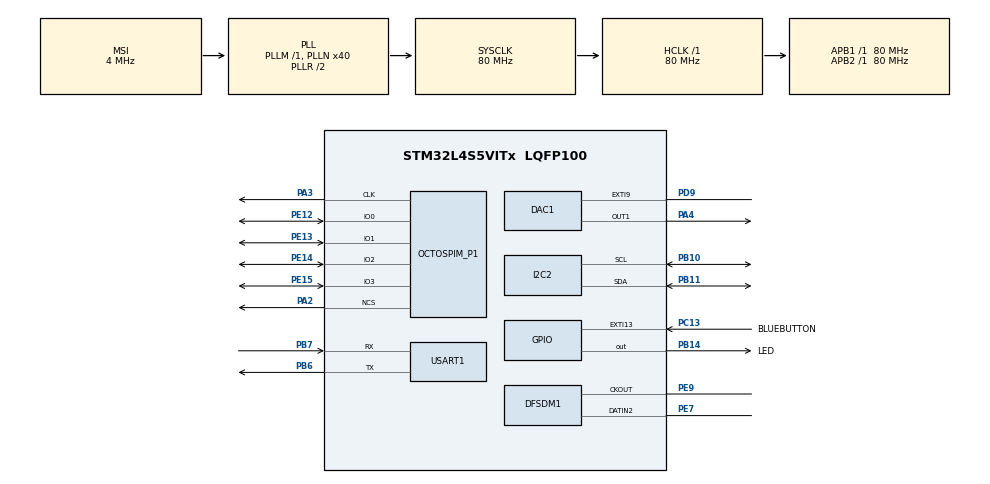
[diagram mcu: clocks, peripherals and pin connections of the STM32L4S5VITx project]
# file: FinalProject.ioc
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DAC1.DAC_HighFrequency-DAC_OUT1=DAC_HIGH_FREQUENCY_INTERFACE_MODE_DISABLE
DAC1.DAC_Trigger-DAC_OUT1=DAC_TRIGGER_T2_TRGO
DFSDM1.Divider=34
DFSDM1.DmaMode_reg_FIL0=ENABLE
DFSDM1.FastMode_reg_FIL0=ENABLE
DFSDM1.Filter_regChannel_FIL0=DFSDM_CHANNEL_2
DFSDM1.Fosr_FIL0=55
DFSDM1.SincOrder_FIL0=DFSDM_FILTER_SINC3_ORDER
Dma.DAC1_CH1.3.Direction=DMA_MEMORY_TO_PERIPH
Dma.DAC1_CH1.3.EventEnable=DISABLE
Dma.DAC1_CH1.3.Instance=DMA1_Channel4
Dma.DAC1_CH1.3.MemDataAlignment=DMA_MDATAALIGN_HALFWORD
Dma.DAC1_CH1.3.MemInc=DMA_MINC_ENABLE
Dma.DAC1_CH1.3.Mode=DMA_NORMAL
Dma.DAC1_CH1.3.PeriphDataAlignment=DMA_PDATAALIGN_HALFWORD
Dma.DAC1_CH1.3.PeriphInc=DMA_PINC_DISABLE
Dma.DAC1_CH1.3.Polarity=HAL_DMAMUX_REQUEST_GEN_RISING
Dma.DAC1_CH1.3.Priority=DMA_PRIORITY_LOW
Dma.DAC1_CH1.3.RequestNumber=1
Dma.DAC1_CH1.3.SignalID=NONE
Dma.DAC1_CH1.3.SyncEnable=DISABLE
Dma.DAC1_CH1.3.SyncPolarity=HAL_DMAMUX_SYNC_NO_EVENT
Dma.DAC1_CH1.3.SyncRequestNumber=1
Dma.DAC1_CH1.3.SyncSignalID=NONE
Dma.DFSDM1_FLT0.2.Direction=DMA_PERIPH_TO_MEMORY
Dma.DFSDM1_FLT0.2.EventEnable=DISABLE
Dma.DFSDM1_FLT0.2.Instance=DMA1_Channel3
Dma.DFSDM1_FLT0.2.MemDataAlignment=DMA_MDATAALIGN_WORD
Dma.DFSDM1_FLT0.2.MemInc=DMA_MINC_ENABLE
Dma.DFSDM1_FLT0.2.Mode=DMA_NORMAL
Dma.DFSDM1_FLT0.2.PeriphDataAlignment=DMA_PDATAALIGN_WORD
Dma.DFSDM1_FLT0.2.PeriphInc=DMA_PINC_DISABLE
Dma.DFSDM1_FLT0.2.Polarity=HAL_DMAMUX_REQUEST_GEN_RISING
Dma.DFSDM1_FLT0.2.Priority=DMA_PRIORITY_LOW
Dma.DFSDM1_FLT0.2.RequestNumber=1
Dma.DFSDM1_FLT0.2.SignalID=NONE
Dma.DFSDM1_FLT0.2.SyncEnable=DISABLE
Dma.DFSDM1_FLT0.2.SyncPolarity=HAL_DMAMUX_SYNC_NO_EVENT
Dma.DFSDM1_FLT0.2.SyncRequestNumber=1
Dma.DFSDM1_FLT0.2.SyncSignalID=NONE
Dma.Request0=USART1_RX
Dma.Request1=USART1_TX
Dma.Request2=DFSDM1_FLT0
Dma.Request3=DAC1_CH1
Dma.Request4=TIM2_UP
Dma.TIM2_UP.4.Direction=DMA_PERIPH_TO_MEMORY
Dma.TIM2_UP.4.EventEnable=DISABLE
Dma.TIM2_UP.4.Instance=DMA1_Channel5
Dma.TIM2_UP.4.MemDataAlignment=DMA_MDATAALIGN_WORD
Dma.TIM2_UP.4.MemInc=DMA_MINC_ENABLE
Dma.TIM2_UP.4.Mode=DMA_NORMAL
Dma.TIM2_UP.4.PeriphDataAlignment=DMA_PDATAALIGN_WORD
Dma.TIM2_UP.4.PeriphInc=DMA_PINC_DISABLE
Dma.TIM2_UP.4.Polarity=HAL_DMAMUX_REQUEST_GEN_RISING
Dma.TIM2_UP.4.Priority=DMA_PRIORITY_LOW
Dma.TIM2_UP.4.RequestNumber=1
Dma.TIM2_UP.4.SignalID=NONE
Dma.TIM2_UP.4.SyncEnable=DISABLE
Dma.TIM2_UP.4.SyncPolarity=HAL_DMAMUX_SYNC_NO_EVENT
Dma.TIM2_UP.4.SyncRequestNumber=1
Dma.TIM2_UP.4.SyncSignalID=NONE
Dma.USART1_RX.0.Direction=DMA_PERIPH_TO_MEMORY
Dma.USART1_RX.0.EventEnable=DISABLE
Dma.USART1_RX.0.Instance=DMA1_Channel1
Dma.USART1_RX.0.MemDataAlignment=DMA_MDATAALIGN_BYTE
Dma.USART1_RX.0.MemInc=DMA_MINC_ENABLE
Dma.USART1_RX.0.Mode=DMA_NORMAL
Dma.USART1_RX.0.PeriphDataAlignment=DMA_PDATAALIGN_BYTE
Dma.USART1_RX.0.PeriphInc=DMA_PINC_DISABLE
Dma.USART1_RX.0.Polarity=HAL_DMAMUX_REQUEST_GEN_RISING
Dma.USART1_RX.0.Priority=DMA_PRIORITY_LOW
Dma.USART1_RX.0.RequestNumber=1
Dma.USART1_RX.0.SignalID=NONE
Dma.USART1_RX.0.SyncEnable=DISABLE
Dma.USART1_RX.0.SyncPolarity=HAL_DMAMUX_SYNC_NO_EVENT
Dma.USART1_RX.0.SyncRequestNumber=1
Dma.USART1_RX.0.SyncSignalID=NONE
Dma.USART1_TX.1.Direction=DMA_MEMORY_TO_PERIPH
Dma.USART1_TX.1.EventEnable=DISABLE
Dma.USART1_TX.1.Instance=DMA1_Channel2
Dma.USART1_TX.1.MemDataAlignment=DMA_MDATAALIGN_BYTE
Dma.USART1_TX.1.MemInc=DMA_MINC_ENABLE
Dma.USART1_TX.1.Mode=DMA_NORMAL
Dma.USART1_TX.1.PeriphDataAlignment=DMA_PDATAALIGN_BYTE
Dma.USART1_TX.1.PeriphInc=DMA_PINC_DISABLE
Dma.USART1_TX.1.Polarity=HAL_DMAMUX_REQUEST_GEN_RISING
Dma.USART1_TX.1.Priority=DMA_PRIORITY_LOW
Dma.USART1_TX.1.RequestNumber=1
Dma.USART1_TX.1.SignalID=NONE
Dma.USART1_TX.1.SyncEnable=DISABLE
Dma.USART1_TX.1.SyncPolarity=HAL_DMAMUX_SYNC_NO_EVENT
Dma.USART1_TX.1.SyncRequestNumber=1
Dma.USART1_TX.1.SyncSignalID=NONE
FREERTOS.Tasks01=receiveTerminal,0,256,StartReceivingTerminal,Default,NULL,Dynamic,NULL,NULL;sideTask,0,256,StartSideTask,Default,NULL,Dynamic,NULL,NULL
I2C2.Timing=0x10909CEC
Mcu.Family=STM32L4
Mcu.Name=STM32L4S5VITx
Mcu.Package=LQFP100
NVIC.DFSDM1_FLT0_IRQn=true\:5\:0\:false\:false\:true\:true\:true\:true\:true
NVIC.DMA1_Channel1_IRQn=true\:5\:0\:false\:false\:true\:true\:false\:true\:true
NVIC.DMA1_Channel2_IRQn=true\:5\:0\:false\:false\:true\:true\:false\:true\:true
NVIC.DMA1_Channel3_IRQn=true\:5\:0\:false\:false\:true\:true\:false\:true\:true
NVIC.DMA1_Channel4_IRQn=true\:5\:0\:false\:false\:true\:true\:false\:true\:true
NVIC.DMA1_Channel5_IRQn=true\:5\:0\:false\:false\:true\:true\:false\:true\:true
NVIC.EXTI15_10_IRQn=true\:5\:0\:false\:false\:true\:true\:true\:true\:true
NVIC.PriorityGroup=NVIC_PRIORITYGROUP_4
NVIC.TIM2_IRQn=true\:5\:0\:false\:false\:true\:true\:true\:true\:true
NVIC.TIM6_DAC_IRQn=true\:5\:0\:false\:false\:true\:false\:false\:true\:true
NVIC.TIM7_IRQn=true\:15\:0\:false\:false\:true\:false\:false\:true\:true
NVIC.TimeBase=TIM7_IRQn
NVIC.TimeBaseIP=TIM7
NVIC.USART1_IRQn=true\:5\:0\:false\:false\:true\:true\:true\:true\:true
OCTOSPI1.MemoryType=HAL_OSPI_MEMTYPE_MACRONIX
PA2.Mode=OCTOSPI1_Port1_NCS
PA2.Signal=OCTOSPIM_P1_NCS
PA3.Mode=O1_P1_CLK
PA3.Signal=OCTOSPIM_P1_CLK
PA4.Signal=COMP_DAC11_group
PB10.Mode=I2C
PB10.Signal=I2C2_SCL
PB11.Mode=I2C
PB11.Signal=I2C2_SDA
PB14.GPIO_Label=LED
PB14.Signal=GPIO_Output
PB6.Mode=Asynchronous
PB6.Signal=USART1_TX
PB7.Mode=Asynchronous
PB7.Signal=USART1_RX
PC13.GPIO_Label=BLUEBUTTON
PC13.Signal=GPXTI13
PD9.Signal=GPXTI9
PE12.Mode=OCTOSPI1_IOL_Port1L
PE12.Signal=OCTOSPIM_P1_IO0
PE13.Mode=OCTOSPI1_IOL_Port1L
PE13.Signal=OCTOSPIM_P1_IO1
PE14.Mode=OCTOSPI1_IOL_Port1L
PE14.Signal=OCTOSPIM_P1_IO2
PE15.Mode=OCTOSPI1_IOL_Port1L
PE15.Signal=OCTOSPIM_P1_IO3
PE7.Signal=S_DATAIN2DFSDM1
PE9.Signal=S_CKOUTDFSDM1
ProjectManager.HeapSize=0x200
ProjectManager.StackSize=0x400
ProjectManager.TargetToolchain=STM32CubeIDE
RCC.ADCFreq_Value=48000000
RCC.AHBFreq_Value=80000000
RCC.APB1Freq_Value=80000000
RCC.APB1TimFreq_Value=80000000
RCC.APB2Freq_Value=80000000
RCC.APB2TimFreq_Value=80000000
RCC.CortexFreq_Value=80000000
RCC.HCLKFreq_Value=80000000
RCC.HSE_VALUE=8000000
RCC.HSI48_VALUE=48000000
RCC.HSI_VALUE=16000000
RCC.LSE_VALUE=32768
RCC.MSI_VALUE=4000000
RCC.PLLN=40
RCC.PLLSAI1N=24
RCC.SYSCLKFreq_VALUE=80000000
RCC.SYSCLKSource=RCC_SYSCLKSOURCE_PLLCLK
RCC.USBFreq_Value=48000000
RCC.VCOOutputFreq_Value=160000000
SH.COMP_DAC11_group.0=DAC1_OUT1,DAC_OUT1
SH.S_CKOUTDFSDM1.0=DFSDM1_CKOUT,CKOUT
SH.S_CKOUTDFSDM1.1=DFSDM1_CKOUT,PDM_SPI_input_from_ch2_and_internal_clock
SH.S_DATAIN2DFSDM1.0=DFSDM1_DATIN2,PDM_SPI_input_from_ch2_and_internal_clock
TIM2.Period=1814
TIM2.TIM_MasterOutputTrigger=TIM_TRGO_UPDATE
USART1.VirtualMode-Asynchronous=VM_ASYNC
VP_FREERTOS_VS_CMSIS_V1.Mode=CMSIS_V1
VP_OCTOSPI1_VS_quad.Mode=quad_mode
VP_SYS_VS_tim7.Mode=TIM7
VP_TIM2_VS_ClockSourceINT.Mode=Internal
board=B-L4S5I-IOT01A

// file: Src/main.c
/* USER CODE BEGIN Header */
/**
  ******************************************************************************
  * @file           : main.c
  * @brief          : Main program body
  ******************************************************************************
  * @attention
  *
  * Copyright (c) 2022 STMicroelectronics.
  * All rights reserved.
  *
  * This software is licensed under terms that can be found in the LICENSE file
  * in the root directory of this software component.
  * If no LICENSE file comes with this software, it is provided AS-IS.
  *
  ******************************************************************************
  */
/* USER CODE END Header */
#include "main.h"
#include "cmsis_os.h"

/* USER CODE BEGIN Includes */
#include "vl53l0x_api.h"
#include "vl53l0x_platform.h"
#include "MorseConversionLayer.h"
#include "stm32l4s5i_iot01_qspi.h"

/* USER CODE END Includes */

/* USER CODE BEGIN PD */
#define WAITTIME 1
#define THRES_DISTANCE 100
#define DURATION_THRES 8
/* USER CODE END PD */

DAC_HandleTypeDef hdac1;
DMA_HandleTypeDef hdma_dac1_ch1;

DFSDM_Filter_HandleTypeDef hdfsdm1_filter0;
DFSDM_Channel_HandleTypeDef hdfsdm1_channel2;
DMA_HandleTypeDef hdma_dfsdm1_flt0;

I2C_HandleTypeDef hi2c2;

OSPI_HandleTypeDef hospi1;

TIM_HandleTypeDef htim2;
DMA_HandleTypeDef hdma_tim2_up;

UART_HandleTypeDef huart1;
DMA_HandleTypeDef hdma_usart1_rx;
DMA_HandleTypeDef hdma_usart1_tx;

osThreadId receiveTerminalHandle;
osThreadId sideTaskHandle;
/* USER CODE BEGIN PV */
char output[50] = {0};
VL53L0X_Dev_t MyDevice;
VL53L0X_Dev_t* pMyDevice = &MyDevice;
VL53L0X_Error status;
uint8_t VhvSettings = 0;
uint8_t PhaseCal = 0;
uint32_t refSpadCount;
uint8_t isApertureSpads;
VL53L0X_RangingMeasurementData_t rangeData;
VL53L0X_RangingMeasurementData_t* pRangeData = &rangeData;
uint16_t distance_output = 8190;

int sleepcounter = 0;
char morse[6];
char morseBuffer[6];
char* dummy[1];
char* i;
int interruptFlag = 0;
/* USER CODE END PV */

void SystemClock_Config(void);
static void MX_GPIO_Init(void);
static void MX_DMA_Init(void);
static void MX_I2C2_Init(void);
static void MX_USART1_UART_Init(void);
static void MX_TIM2_Init(void);
static void MX_DFSDM1_Init(void);
static void MX_DAC1_Init(void);
static void MX_OCTOSPI1_Init(void);
void StartReceivingTerminal(void const * argument);
void StartSideTask(void const * argument);

/* USER CODE BEGIN PFP */
void print_error(VL53L0X_Error status);
void print_to_terminal(char* output);
/* USER CODE END PFP */

/* USER CODE BEGIN 0 */
int32_t arrayOne[50000];
uint16_t forDac[50000];

uint16_t dacValue = 0;
int32_t micValue = 0;
void HAL_GPIO_EXTI_Callback (uint16_t GPIO_Pin);
void HAL_DFSDM_FilterRegConvCpltCallback (DFSDM_Filter_HandleTypeDef * hdfsdm_filter);

uint8_t buff[1000];
uint8_t rxData[4];
uint8_t UART2_rxBuffer[1000] = {0};
int flag = 0;

/* USER CODE END 0 */

int main(void)
{

  /* MCU Configuration--------------------------------------------------------*/

  /* Reset of all peripherals, Initializes the Flash interface and the Systick. */
  HAL_Init();

  /* Configure the system clock */
  SystemClock_Config();

  /* Initialize all configured peripherals */
  MX_GPIO_Init();
  MX_DMA_Init();
  MX_I2C2_Init();
  MX_USART1_UART_Init();
  MX_TIM2_Init();
  MX_DFSDM1_Init();
  MX_DAC1_Init();
  MX_OCTOSPI1_Init();
  /* USER CODE BEGIN 2 */
  HAL_TIM_Base_Start(&htim2);
  HAL_DMA_Init(&hdma_dac1_ch1);
  HAL_DMA_Init(&hdma_dfsdm1_flt0);
  HAL_DMA_Init(&hdma_tim2_up);
  BSP_QSPI_Init();
  pMyDevice->I2cHandle = &hi2c2;
  pMyDevice->I2cDevAddr      = 0x52;
  pMyDevice->comms_type      =  1;
  pMyDevice->comms_speed_khz =  400;
  VL53L0X_ResetDevice(&MyDevice);
  status = VL53L0X_DataInit(&MyDevice);
  status = VL53L0X_StaticInit(pMyDevice);
  status = VL53L0X_PerformRefCalibration(pMyDevice,
          		&VhvSettings, &PhaseCal);
  status = VL53L0X_PerformRefSpadManagement(pMyDevice,
          		&refSpadCount, &isApertureSpads);
  status = VL53L0X_SetDeviceMode(pMyDevice, VL53L0X_DEVICEMODE_SINGLE_RANGING);
  char ascii_char[2]; // null-terminated string of length 1.

  HAL_UART_Receive_IT(&huart1, UART2_rxBuffer, 1);

  char Message[] = "Write anything on Serial Terminal\r\n";
  HAL_UART_Transmit(&huart1, (uint8_t *)Message, strlen(Message), 10);

  /* USER CODE END 2 */

  /* Create the thread(s) */
  /* definition and creation of receiveTerminal */
  osThreadDef(receiveTerminal, StartReceivingTerminal, osPriorityNormal, 0, 256);
  receiveTerminalHandle = osThreadCreate(osThread(receiveTerminal), NULL);

  /* definition and creation of sideTask */
  osThreadDef(sideTask, StartSideTask, osPriorityNormal, 0, 256);
  sideTaskHandle = osThreadCreate(osThread(sideTask), NULL);

  /* Start scheduler */
  osKernelStart();

  /* We should never get here as control is now taken by the scheduler */
  /* Infinite loop */
  while (1)
  {

  }
}

void SystemClock_Config(void)
{
  RCC_OscInitTypeDef RCC_OscInitStruct = {0};
  RCC_ClkInitTypeDef RCC_ClkInitStruct = {0};

  /** Configure the main internal regulator output voltage
  */
  if (HAL_PWREx_ControlVoltageScaling(PWR_REGULATOR_VOLTAGE_SCALE1) != HAL_OK)
  {
    Error_Handler();
  }

  /** Initializes the RCC Oscillators according to the specified parameters
  * in the RCC_OscInitTypeDef structure.
  */
  RCC_OscInitStruct.OscillatorType = RCC_OSCILLATORTYPE_MSI;
  RCC_OscInitStruct.MSIState = RCC_MSI_ON;
  RCC_OscInitStruct.MSICalibrationValue = 0;
  RCC_OscInitStruct.MSIClockRange = RCC_MSIRANGE_6;
  RCC_OscInitStruct.PLL.PLLState = RCC_PLL_ON;
  RCC_OscInitStruct.PLL.PLLSource = RCC_PLLSOURCE_MSI;
  RCC_OscInitStruct.PLL.PLLM = 1;
  RCC_OscInitStruct.PLL.PLLN = 40;
  RCC_OscInitStruct.PLL.PLLP = RCC_PLLP_DIV2;
  RCC_OscInitStruct.PLL.PLLQ = RCC_PLLQ_DIV2;
  RCC_OscInitStruct.PLL.PLLR = RCC_PLLR_DIV2;
  if (HAL_RCC_OscConfig(&RCC_OscInitStruct) != HAL_OK)
  {
    Error_Handler();
  }

  /** Initializes the CPU, AHB and APB buses clocks
  */
  RCC_ClkInitStruct.ClockType = RCC_CLOCKTYPE_HCLK|RCC_CLOCKTYPE_SYSCLK
                              |RCC_CLOCKTYPE_PCLK1|RCC_CLOCKTYPE_PCLK2;
  RCC_ClkInitStruct.SYSCLKSource = RCC_SYSCLKSOURCE_PLLCLK;
  RCC_ClkInitStruct.AHBCLKDivider = RCC_SYSCLK_DIV1;
  RCC_ClkInitStruct.APB1CLKDivider = RCC_HCLK_DIV1;
  RCC_ClkInitStruct.APB2CLKDivider = RCC_HCLK_DIV1;

  if (HAL_RCC_ClockConfig(&RCC_ClkInitStruct, FLASH_LATENCY_3) != HAL_OK)
  {
    Error_Handler();
  }
}

static void MX_DAC1_Init(void)
{

  DAC_ChannelConfTypeDef sConfig = {0};

  /** DAC Initialization
  */
  hdac1.Instance = DAC1;
  if (HAL_DAC_Init(&hdac1) != HAL_OK)
  {
    Error_Handler();
  }

  /** DAC channel OUT1 config
  */
  sConfig.DAC_SampleAndHold = DAC_SAMPLEANDHOLD_DISABLE;
  sConfig.DAC_Trigger = DAC_TRIGGER_T2_TRGO;
  sConfig.DAC_HighFrequency = DAC_HIGH_FREQUENCY_INTERFACE_MODE_DISABLE;
  sConfig.DAC_OutputBuffer = DAC_OUTPUTBUFFER_ENABLE;
  sConfig.DAC_ConnectOnChipPeripheral = DAC_CHIPCONNECT_DISABLE;
  sConfig.DAC_UserTrimming = DAC_TRIMMING_FACTORY;
  if (HAL_DAC_ConfigChannel(&hdac1, &sConfig, DAC_CHANNEL_1) != HAL_OK)
  {
    Error_Handler();
  }

}

static void MX_DFSDM1_Init(void)
{

  hdfsdm1_filter0.Instance = DFSDM1_Filter0;
  hdfsdm1_filter0.Init.RegularParam.Trigger = DFSDM_FILTER_SW_TRIGGER;
  hdfsdm1_filter0.Init.RegularParam.FastMode = ENABLE;
  hdfsdm1_filter0.Init.RegularParam.DmaMode = ENABLE;
  hdfsdm1_filter0.Init.FilterParam.SincOrder = DFSDM_FILTER_SINC3_ORDER;
  hdfsdm1_filter0.Init.FilterParam.Oversampling = 55;
  hdfsdm1_filter0.Init.FilterParam.IntOversampling = 1;
  if (HAL_DFSDM_FilterInit(&hdfsdm1_filter0) != HAL_OK)
  {
    Error_Handler();
  }
  hdfsdm1_channel2.Instance = DFSDM1_Channel2;
  hdfsdm1_channel2.Init.OutputClock.Activation = ENABLE;
  hdfsdm1_channel2.Init.OutputClock.Selection = DFSDM_CHANNEL_OUTPUT_CLOCK_SYSTEM;
  hdfsdm1_channel2.Init.OutputClock.Divider = 34;
  hdfsdm1_channel2.Init.Input.Multiplexer = DFSDM_CHANNEL_EXTERNAL_INPUTS;
  hdfsdm1_channel2.Init.Input.DataPacking = DFSDM_CHANNEL_STANDARD_MODE;
  hdfsdm1_channel2.Init.Input.Pins = DFSDM_CHANNEL_SAME_CHANNEL_PINS;
  hdfsdm1_channel2.Init.SerialInterface.Type = DFSDM_CHANNEL_SPI_RISING;
  hdfsdm1_channel2.Init.SerialInterface.SpiClock = DFSDM_CHANNEL_SPI_CLOCK_INTERNAL;
  hdfsdm1_channel2.Init.Awd.FilterOrder = DFSDM_CHANNEL_FASTSINC_ORDER;
  hdfsdm1_channel2.Init.Awd.Oversampling = 1;
  hdfsdm1_channel2.Init.Offset = 0;
  hdfsdm1_channel2.Init.RightBitShift = 0x00;
  if (HAL_DFSDM_ChannelInit(&hdfsdm1_channel2) != HAL_OK)
  {
    Error_Handler();
  }
  if (HAL_DFSDM_FilterConfigRegChannel(&hdfsdm1_filter0, DFSDM_CHANNEL_2, DFSDM_CONTINUOUS_CONV_ON) != HAL_OK)
  {
    Error_Handler();
  }

}

static void MX_I2C2_Init(void)
{

  hi2c2.Instance = I2C2;
  hi2c2.Init.Timing = 0x10909CEC;
  hi2c2.Init.OwnAddress1 = 0;
  hi2c2.Init.AddressingMode = I2C_ADDRESSINGMODE_7BIT;
  hi2c2.Init.DualAddressMode = I2C_DUALADDRESS_DISABLE;
  hi2c2.Init.OwnAddress2 = 0;
  hi2c2.Init.OwnAddress2Masks = I2C_OA2_NOMASK;
  hi2c2.Init.GeneralCallMode = I2C_GENERALCALL_DISABLE;
  hi2c2.Init.NoStretchMode = I2C_NOSTRETCH_DISABLE;
  if (HAL_I2C_Init(&hi2c2) != HAL_OK)
  {
    Error_Handler();
  }

  /** Configure Analogue filter
  */
  if (HAL_I2CEx_ConfigAnalogFilter(&hi2c2, I2C_ANALOGFILTER_ENABLE) != HAL_OK)
  {
    Error_Handler();
  }

  /** Configure Digital filter
  */
  if (HAL_I2CEx_ConfigDigitalFilter(&hi2c2, 0) != HAL_OK)
  {
    Error_Handler();
  }

}

static void MX_OCTOSPI1_Init(void)
{

  OSPIM_CfgTypeDef OSPIM_Cfg_Struct = {0};

  /* OCTOSPI1 parameter configuration*/
  hospi1.Instance = OCTOSPI1;
  hospi1.Init.FifoThreshold = 1;
  hospi1.Init.DualQuad = HAL_OSPI_DUALQUAD_DISABLE;
  hospi1.Init.MemoryType = HAL_OSPI_MEMTYPE_MACRONIX;
  hospi1.Init.DeviceSize = 32;
  hospi1.Init.ChipSelectHighTime = 1;
  hospi1.Init.FreeRunningClock = HAL_OSPI_FREERUNCLK_DISABLE;
  hospi1.Init.ClockMode = HAL_OSPI_CLOCK_MODE_0;
  hospi1.Init.ClockPrescaler = 1;
  hospi1.Init.SampleShifting = HAL_OSPI_SAMPLE_SHIFTING_NONE;
  hospi1.Init.DelayHoldQuarterCycle = HAL_OSPI_DHQC_DISABLE;
  hospi1.Init.ChipSelectBoundary = 0;
  hospi1.Init.DelayBlockBypass = HAL_OSPI_DELAY_BLOCK_BYPASSED;
  if (HAL_OSPI_Init(&hospi1) != HAL_OK)
  {
    Error_Handler();
  }
  OSPIM_Cfg_Struct.ClkPort = 1;
  OSPIM_Cfg_Struct.NCSPort = 1;
  OSPIM_Cfg_Struct.IOLowPort = HAL_OSPIM_IOPORT_1_LOW;
  if (HAL_OSPIM_Config(&hospi1, &OSPIM_Cfg_Struct, HAL_OSPI_TIMEOUT_DEFAULT_VALUE) != HAL_OK)
  {
    Error_Handler();
  }

}

static void MX_TIM2_Init(void)
{

  TIM_ClockConfigTypeDef sClockSourceConfig = {0};
  TIM_MasterConfigTypeDef sMasterConfig = {0};

  htim2.Instance = TIM2;
  htim2.Init.Prescaler = 0;
  htim2.Init.CounterMode = TIM_COUNTERMODE_UP;
  htim2.Init.Period = 1814;
  htim2.Init.ClockDivision = TIM_CLOCKDIVISION_DIV1;
  htim2.Init.AutoReloadPreload = TIM_AUTORELOAD_PRELOAD_DISABLE;
  if (HAL_TIM_Base_Init(&htim2) != HAL_OK)
  {
    Error_Handler();
  }
  sClockSourceConfig.ClockSource = TIM_CLOCKSOURCE_INTERNAL;
  if (HAL_TIM_ConfigClockSource(&htim2, &sClockSourceConfig) != HAL_OK)
  {
    Error_Handler();
  }
  sMasterConfig.MasterOutputTrigger = TIM_TRGO_UPDATE;
  sMasterConfig.MasterSlaveMode = TIM_MASTERSLAVEMODE_DISABLE;
  if (HAL_TIMEx_MasterConfigSynchronization(&htim2, &sMasterConfig) != HAL_OK)
  {
    Error_Handler();
  }

}

static void MX_USART1_UART_Init(void)
{

  huart1.Instance = USART1;
  huart1.Init.BaudRate = 115200;
  huart1.Init.WordLength = UART_WORDLENGTH_8B;
  huart1.Init.StopBits = UART_STOPBITS_1;
  huart1.Init.Parity = UART_PARITY_NONE;
  huart1.Init.Mode = UART_MODE_TX_RX;
  huart1.Init.HwFlowCtl = UART_HWCONTROL_NONE;
  huart1.Init.OverSampling = UART_OVERSAMPLING_16;
  huart1.Init.OneBitSampling = UART_ONE_BIT_SAMPLE_DISABLE;
  huart1.Init.ClockPrescaler = UART_PRESCALER_DIV1;
  huart1.AdvancedInit.AdvFeatureInit = UART_ADVFEATURE_NO_INIT;
  if (HAL_UART_Init(&huart1) != HAL_OK)
  {
    Error_Handler();
  }
  if (HAL_UARTEx_SetTxFifoThreshold(&huart1, UART_TXFIFO_THRESHOLD_1_8) != HAL_OK)
  {
    Error_Handler();
  }
  if (HAL_UARTEx_SetRxFifoThreshold(&huart1, UART_RXFIFO_THRESHOLD_1_8) != HAL_OK)
  {
    Error_Handler();
  }
  if (HAL_UARTEx_DisableFifoMode(&huart1) != HAL_OK)
  {
    Error_Handler();
  }

}

static void MX_DMA_Init(void)
{

  /* DMA controller clock enable */
  __HAL_RCC_DMAMUX1_CLK_ENABLE();
  __HAL_RCC_DMA1_CLK_ENABLE();

  /* DMA interrupt init */
  /* DMA1_Channel1_IRQn interrupt configuration */
  HAL_NVIC_SetPriority(DMA1_Channel1_IRQn, 5, 0);
  HAL_NVIC_EnableIRQ(DMA1_Channel1_IRQn);
  /* DMA1_Channel2_IRQn interrupt configuration */
  HAL_NVIC_SetPriority(DMA1_Channel2_IRQn, 5, 0);
  HAL_NVIC_EnableIRQ(DMA1_Channel2_IRQn);
  /* DMA1_Channel3_IRQn interrupt configuration */
  HAL_NVIC_SetPriority(DMA1_Channel3_IRQn, 5, 0);
  HAL_NVIC_EnableIRQ(DMA1_Channel3_IRQn);
  /* DMA1_Channel4_IRQn interrupt configuration */
  HAL_NVIC_SetPriority(DMA1_Channel4_IRQn, 5, 0);
  HAL_NVIC_EnableIRQ(DMA1_Channel4_IRQn);
  /* DMA1_Channel5_IRQn interrupt configuration */
  HAL_NVIC_SetPriority(DMA1_Channel5_IRQn, 5, 0);
  HAL_NVIC_EnableIRQ(DMA1_Channel5_IRQn);

}

static void MX_GPIO_Init(void)
{
  GPIO_InitTypeDef GPIO_InitStruct = {0};

  /* GPIO Ports Clock Enable */
  __HAL_RCC_GPIOC_CLK_ENABLE();
  __HAL_RCC_GPIOA_CLK_ENABLE();
  __HAL_RCC_GPIOE_CLK_ENABLE();
  __HAL_RCC_GPIOB_CLK_ENABLE();
  __HAL_RCC_GPIOD_CLK_ENABLE();

  /*Configure GPIO pin Output Level */
  HAL_GPIO_WritePin(LED_GPIO_Port, LED_Pin, GPIO_PIN_RESET);

  /*Configure GPIO pin : BLUEBUTTON_Pin */
  GPIO_InitStruct.Pin = BLUEBUTTON_Pin;
  GPIO_InitStruct.Mode = GPIO_MODE_IT_RISING;
  GPIO_InitStruct.Pull = GPIO_NOPULL;
  HAL_GPIO_Init(BLUEBUTTON_GPIO_Port, &GPIO_InitStruct);

  /*Configure GPIO pin : LED_Pin */
  GPIO_InitStruct.Pin = LED_Pin;
  GPIO_InitStruct.Mode = GPIO_MODE_OUTPUT_PP;
  GPIO_InitStruct.Pull = GPIO_NOPULL;
  GPIO_InitStruct.Speed = GPIO_SPEED_FREQ_LOW;
  HAL_GPIO_Init(LED_GPIO_Port, &GPIO_InitStruct);

  /*Configure GPIO pin : PD9 */
  GPIO_InitStruct.Pin = GPIO_PIN_9;
  GPIO_InitStruct.Mode = GPIO_MODE_IT_RISING;
  GPIO_InitStruct.Pull = GPIO_NOPULL;
  HAL_GPIO_Init(GPIOD, &GPIO_InitStruct);

  /* EXTI interrupt init*/
  HAL_NVIC_SetPriority(EXTI15_10_IRQn, 5, 0);
  HAL_NVIC_EnableIRQ(EXTI15_10_IRQn);

}

/* USER CODE BEGIN 4 */
void print_error(VL53L0X_Error status) {
    char buffer[VL53L0X_MAX_STRING_LENGTH];
    VL53L0X_GetPalErrorString(status, buffer);
    printf("API Status: %i : %s\n", status, buffer);
}

void read_char_morse() // reads a single ascii character (multiple morse codes)
{
	int mode = 0; // 0=not started reading. 1=reading(waiting for hand to leave sensor). 2=waiting for additional morse code
	int i = 0;
	int counter = 0;
	while(1)
	{
		  status = VL53L0X_PerformSingleRangingMeasurement(pMyDevice, &rangeData);
		  distance_output = pRangeData->RangeMilliMeter;
		  //snprintf(output, sizeof(output), "%d\n\r", distance_output);
		  //HAL_UART_Transmit(&huart1, output, strlen(output), 100);
		  if (distance_output>THRES_DISTANCE)
		  {
			  if (mode==1){
				  mode = 2;
				  morse[i] = (counter>=DURATION_THRES) ? '-' : '.';
				  i++;
				  counter = 0;
			  } else if (mode==2){
				  counter++;
				  if (counter>14){
					  morse[i]='\0';
					  break;
				  }
			  }

		  } else  if (distance_output<THRES_DISTANCE && (mode==0||mode==2)) {
			  counter++;
			  mode = 1;
		  } else if (distance_output<THRES_DISTANCE && mode==1) {
			  counter++;
		  }

		  osDelay(WAITTIME);
	}

}

void HAL_GPIO_EXTI_Callback (uint16_t GPIO_Pin) {
	// put to sleep once pushbutton is pressed
//	if (sleepcounter == 0){
//		HAL_SuspendTick();
//		HAL_PWR_EnterSLEEPMode(PWR_LOWPOWERREGULATOR_ON,PWR_SLEEPENTRY_WFI);
//		HAL_ResumeTick();
//
//	}
//	sleepcounter = (sleepcounter + 1) % 2;
//

//    if(HAL_GPIO_ReadPin(GPIOB, LED_Pin) == GPIO_PIN_SET) {
//		HAL_GPIO_WritePin(GPIOB, LED_Pin, GPIO_PIN_RESET);
//    } else {
//		HAL_GPIO_WritePin(GPIOB, LED_Pin, GPIO_PIN_SET);
//	}
//    sprintf(buff, "Board\n\r");
//    HAL_UART_Transmit_DMA(&huart1, &buff, strlen(buff));

//
//	HAL_DAC_Stop_DMA(&hdac1, DAC_CHANNEL_1);
//	HAL_DFSDM_FilterRegularStop_DMA(&hdfsdm1_filter0);
//	for (int i = 0; i < 50000 ; i++){
//		arrayOne[i] = (int32_t)0;
//	}
//	HAL_DFSDM_FilterRegularStart_DMA(&hdfsdm1_filter0, &arrayOne, 50000);
//
//	if(HAL_GPIO_ReadPin(GPIOB, LED_Pin) == GPIO_PIN_SET) {
//		HAL_GPIO_WritePin(GPIOB, LED_Pin, GPIO_PIN_RESET);
//	} else {
//		HAL_GPIO_WritePin(GPIOB, LED_Pin, GPIO_PIN_SET);
//	}

}

void HAL_UART_RxCpltCallback(UART_HandleTypeDef *huart) {
	interruptFlag = 1;
	HAL_UART_Receive_IT(&huart1, UART2_rxBuffer, 1);

}
//
void HAL_DFSDM_FilterRegConvCpltCallback (DFSDM_Filter_HandleTypeDef * hdfsdm_filter) {

//	for (int i = 0; i < 50000 ; i++){
//
//		micValue = arrayOne[i];
//
//		int32_t temp = arrayOne[i] >> 8;
////		if(temp < -30000) { temp = -30000; }
////		else if(temp > 30000) { temp = 30000; }
//		temp = (temp/256)/*max here is 32768*/ + 32768; // total max is 65536 <= 2^16 for 16 bits.
//
//		forDac[i] = (uint16_t)((int16_t)(arrayOne[i] >> 8) + 32748);
//
//		//dacValue = (uint16_t) temp;
//	}

//	BSP_QSPI_Erase_Block(0x330000);
//	if (BSP_QSPI_Write(&forDac, 0x330000, 100000) != QSPI_OK) Error_Handler();

//	if (BSP_QSPI_Read(&forDac, 0x210000, 100000) != 0) Error_Handler();
//	HAL_DAC_Start_DMA(&hdac1, DAC_CHANNEL_1, &forDac, 100000, DAC_ALIGN_12B_R);

}

/* USER CODE END 4 */

void StartReceivingTerminal(void const * argument)
{
  /* USER CODE BEGIN 5 */
	char ascii_char[2];
  /* Infinite loop */
  for(;;)
  {
	  	osDelay(1000);
	  	char* array[1];
		read_char_morse();
		array[0] = morse;
		convertMorseToText(array, ascii_char, 1);
		ascii_char[1]='\0';
		snprintf(output, sizeof(output), "%s\n\r", ascii_char);
		HAL_UART_Transmit(&huart1, output, strlen(output), 100);
		snprintf(output, sizeof(output), "%s\n\r", morse);
		HAL_UART_Transmit(&huart1, output, strlen(output), 100);

  }
  /* USER CODE END 5 */
}

void StartSideTask(void const * argument)
{
  /* USER CODE BEGIN StartSideTask */
  /* Infinite loop */
  for(;;)
  {
//    osDelay(1000);
//    char Message[] = "Write anything on Serial Terminal\r\n";
//    HAL_UART_Transmit(&huart1, (uint8_t *)Message, strlen(Message), 10);

	      osDelay(1);
	      if (interruptFlag == 1) {
	      	HAL_UART_Transmit(&huart1, UART2_rxBuffer, 1, 100);
	      	char* morse[1];
	      	morse[0] = morseBuffer;
	        //convertMorseToText(array, ascii_char, 1);
	      	convertTextToMorse(UART2_rxBuffer, morse, 1);
	      	i = morse[0];
	      	//HAL_UART_Transmit(&huart1, morse, strlen(morse), 100);

	      	for(int x = 0; x < strlen(*(morse)); x++) {
	      		char m = (*(morse))[x];

	      		if(strcmp(m, '-') == 0) {
	      			HAL_GPIO_WritePin(GPIOB, LED_Pin, GPIO_PIN_SET);
	      			osDelay(1500);
	      		} else if(strcmp(m, '.') == 0) {
	      			HAL_GPIO_WritePin(GPIOB, LED_Pin, GPIO_PIN_SET);
	      			osDelay(700);
	      		}
	      		HAL_GPIO_WritePin(GPIOB, LED_Pin, GPIO_PIN_RESET);
	      		osDelay(200);
	      	}

	      	// read out loud the passed letter to DAC
	      	char toRead = tolower(UART2_rxBuffer[0]);
	  //    	int offset = toRead - 'a';
	      	if (toRead == 'a'){
	  			if (BSP_QSPI_Read(&forDac, 0x000000, 100000) != 0) Error_Handler();
	  			HAL_DAC_Start_DMA(&hdac1, DAC_CHANNEL_1, &forDac, 100000, DAC_ALIGN_12B_R);
	      	}
	      	if (toRead == 'b'){
	  			if (BSP_QSPI_Read(&forDac, 0x020000, 100000) != 0) Error_Handler();
	  			HAL_DAC_Start_DMA(&hdac1, DAC_CHANNEL_1, &forDac, 100000, DAC_ALIGN_12B_R);

	      	}
	      	if (toRead == 'c'){
	  			if (BSP_QSPI_Read(&forDac, 0x040000, 100000) != 0) Error_Handler();
	  			HAL_DAC_Start_DMA(&hdac1, DAC_CHANNEL_1, &forDac, 100000, DAC_ALIGN_12B_R);

	      	}
	      	if (toRead == 'd'){
	  			if (BSP_QSPI_Read(&forDac, 0x060000, 100000) != 0) Error_Handler();
	  			HAL_DAC_Start_DMA(&hdac1, DAC_CHANNEL_1, &forDac, 100000, DAC_ALIGN_12B_R);

	      	}
	      	if (toRead == 'e'){
	  			if (BSP_QSPI_Read(&forDac, 0x080000, 100000) != 0) Error_Handler();
	  			HAL_DAC_Start_DMA(&hdac1, DAC_CHANNEL_1, &forDac, 100000, DAC_ALIGN_12B_R);

	      	}
	      	if (toRead == 'f'){
	  			if (BSP_QSPI_Read(&forDac, 0x0A0000, 100000) != 0) Error_Handler();
	  			HAL_DAC_Start_DMA(&hdac1, DAC_CHANNEL_1, &forDac, 100000, DAC_ALIGN_12B_R);

	      	}
	      	if (toRead == 'g'){
	  			if (BSP_QSPI_Read(&forDac, 0x0C0000, 100000) != 0) Error_Handler();
	  			HAL_DAC_Start_DMA(&hdac1, DAC_CHANNEL_1, &forDac, 100000, DAC_ALIGN_12B_R);

	      	}
	      	if (toRead == 'h'){
	  			if (BSP_QSPI_Read(&forDac, 0x0E0000, 100000) != 0) Error_Handler();
	  			HAL_DAC_Start_DMA(&hdac1, DAC_CHANNEL_1, &forDac, 100000, DAC_ALIGN_12B_R);

	      	}
	      	if (toRead == 'i'){
	  			if (BSP_QSPI_Read(&forDac, 0x100000, 100000) != 0) Error_Handler();
	  			HAL_DAC_Start_DMA(&hdac1, DAC_CHANNEL_1, &forDac, 100000, DAC_ALIGN_12B_R);

	      	}
	      	if (toRead == 'j'){
	  			if (BSP_QSPI_Read(&forDac, 0x120000, 100000) != 0) Error_Handler();
	  			HAL_DAC_Start_DMA(&hdac1, DAC_CHANNEL_1, &forDac, 100000, DAC_ALIGN_12B_R);

	      	}
	      	if (toRead == 'k'){
	  			if (BSP_QSPI_Read(&forDac, 0x140000, 100000) != 0) Error_Handler();
	  			HAL_DAC_Start_DMA(&hdac1, DAC_CHANNEL_1, &forDac, 100000, DAC_ALIGN_12B_R);

	      	}
	      	if (toRead == 'l'){
	  			if (BSP_QSPI_Read(&forDac, 0x160000, 100000) != 0) Error_Handler();
	  			HAL_DAC_Start_DMA(&hdac1, DAC_CHANNEL_1, &forDac, 100000, DAC_ALIGN_12B_R);

	      	}
	      	if (toRead == 'm'){
	  			if (BSP_QSPI_Read(&forDac, 0x180000, 100000) != 0) Error_Handler();
	  			HAL_DAC_Start_DMA(&hdac1, DAC_CHANNEL_1, &forDac, 100000, DAC_ALIGN_12B_R);

	      	}
	      	if (toRead == 'n'){
	  			if (BSP_QSPI_Read(&forDac, 0x1A0000, 100000) != 0) Error_Handler();
	  			HAL_DAC_Start_DMA(&hdac1, DAC_CHANNEL_1, &forDac, 100000, DAC_ALIGN_12B_R);

	      	}
	      	if (toRead == 'o'){
	  			if (BSP_QSPI_Read(&forDac, 0x1C0000, 100000) != 0) Error_Handler();
	  			HAL_DAC_Start_DMA(&hdac1, DAC_CHANNEL_1, &forDac, 100000, DAC_ALIGN_12B_R);

	      	}
	      	if (toRead == 'p'){
	  			if (BSP_QSPI_Read(&forDac, 0x1E0000, 100000) != 0) Error_Handler();
	  			HAL_DAC_Start_DMA(&hdac1, DAC_CHANNEL_1, &forDac, 100000, DAC_ALIGN_12B_R);

	      	}
	      	if (toRead == 'q'){
	  			if (BSP_QSPI_Read(&forDac, 0x210000, 100000) != 0) Error_Handler();
	  			HAL_DAC_Start_DMA(&hdac1, DAC_CHANNEL_1, &forDac, 100000, DAC_ALIGN_12B_R);

	      	}
	      	if (toRead == 'r'){
	  			if (BSP_QSPI_Read(&forDac, 0x330000, 100000) != 0) Error_Handler();
	  			HAL_DAC_Start_DMA(&hdac1, DAC_CHANNEL_1, &forDac, 100000, DAC_ALIGN_12B_R);

	      	}
	      	if (toRead == 's'){
	  			if (BSP_QSPI_Read(&forDac, 0x230000, 100000) != 0) Error_Handler();
	  			HAL_DAC_Start_DMA(&hdac1, DAC_CHANNEL_1, &forDac, 100000, DAC_ALIGN_12B_R);

	      	}
	      	if (toRead == 't'){
	  			if (BSP_QSPI_Read(&forDac, 0x250000, 100000) != 0) Error_Handler();
	  			HAL_DAC_Start_DMA(&hdac1, DAC_CHANNEL_1, &forDac, 100000, DAC_ALIGN_12B_R);

	      	}
	      	if (toRead == 'u'){
	  			if (BSP_QSPI_Read(&forDac, 0x270000, 100000) != 0) Error_Handler();
	  			HAL_DAC_Start_DMA(&hdac1, DAC_CHANNEL_1, &forDac, 100000, DAC_ALIGN_12B_R);

	      	}
	      	if (toRead == 'v'){
	  			if (BSP_QSPI_Read(&forDac, 0x290000, 100000) != 0) Error_Handler();
	  			HAL_DAC_Start_DMA(&hdac1, DAC_CHANNEL_1, &forDac, 100000, DAC_ALIGN_12B_R);

	      	}
	         	if (toRead == 'w'){
	      			if (BSP_QSPI_Read(&forDac, 0x2B0000, 100000) != 0) Error_Handler();
	      			HAL_DAC_Start_DMA(&hdac1, DAC_CHANNEL_1, &forDac, 100000, DAC_ALIGN_12B_R);

	  		}
	         	if (toRead == 'x'){
	      			if (BSP_QSPI_Read(&forDac, 0x2D0000, 100000) != 0) Error_Handler();
	      			HAL_DAC_Start_DMA(&hdac1, DAC_CHANNEL_1, &forDac, 100000, DAC_ALIGN_12B_R);

	  		}
	         	if (toRead == 'y'){
	      			if (BSP_QSPI_Read(&forDac, 0x2F0000, 100000) != 0) Error_Handler();
	      			HAL_DAC_Start_DMA(&hdac1, DAC_CHANNEL_1, &forDac, 100000, DAC_ALIGN_12B_R);

	  		}
	         	if (toRead == 'z'){
	      			if (BSP_QSPI_Read(&forDac, 0x310000, 100000) != 0) Error_Handler();
	      			HAL_DAC_Start_DMA(&hdac1, DAC_CHANNEL_1, &forDac, 100000, DAC_ALIGN_12B_R);

	  		}

	      	interruptFlag = 0;
	      }
  }
  /* USER CODE END StartSideTask */
}

void HAL_TIM_PeriodElapsedCallback(TIM_HandleTypeDef *htim)
{
  if (htim->Instance == TIM7) {
    HAL_IncTick();
  }
}

void Error_Handler(void)
{
  /* USER CODE BEGIN Error_Handler_Debug */
  /* User can add his own implementation to report the HAL error return state */
  __disable_irq();
  while (1)
  {
	  HAL_GPIO_WritePin(LED_GPIO_Port, LED_Pin, GPIO_PIN_SET);
  }
  /* USER CODE END Error_Handler_Debug */
}
